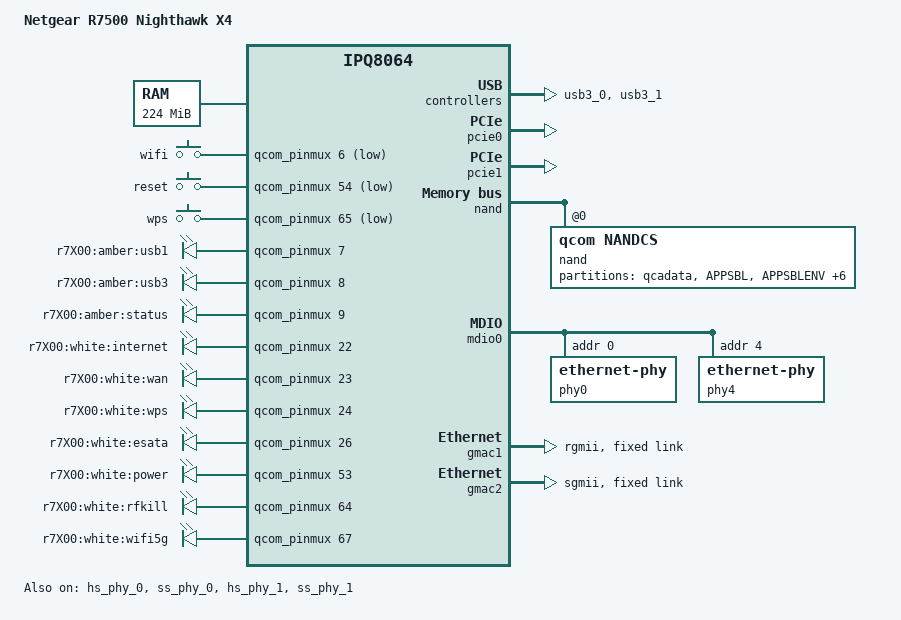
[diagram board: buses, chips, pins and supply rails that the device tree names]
#include "qcom-ipq8064-v1.0.dtsi"

#include <dt-bindings/input/input.h>
#include <dt-bindings/soc/qcom,tcsr.h>

/ {
	model = "Netgear R7500 Nighthawk X4";
	compatible = "netgear,r7500", "qcom,ipq8064";

	memory@0 {
		reg = <0x42000000 0xe000000>;
		device_type = "memory";
	};

	reserved-memory {
		#address-cells = <1>;
		#size-cells = <1>;
		ranges;
		rsvd@41200000 {
			reg = <0x41200000 0x300000>;
			no-map;
		};
	};

	aliases {
		mdio-gpio0 = &mdio0;
	};

	chosen {
		bootargs = "console=ttyMSM0,115200n8 nohz_full=all rootfstype=squashfs noinitrd root=/dev/mtdblock5";
	};

	keys {
		compatible = "gpio-keys";
		pinctrl-0 = <&button_pins>;
		pinctrl-names = "default";

		wifi {
			label = "wifi";
			gpios = <&qcom_pinmux 6 GPIO_ACTIVE_LOW>;
			linux,code = <KEY_RFKILL>;
			debounce-interval = <60>;
			wakeup-source;
		};

		reset {
			label = "reset";
			gpios = <&qcom_pinmux 54 GPIO_ACTIVE_LOW>;
			linux,code = <KEY_RESTART>;
			debounce-interval = <60>;
			wakeup-source;
		};

		wps {
			label = "wps";
			gpios = <&qcom_pinmux 65 GPIO_ACTIVE_LOW>;
			linux,code = <KEY_WPS_BUTTON>;
			debounce-interval = <60>;
			wakeup-source;
		};
	};

	gpio-leds {
		compatible = "gpio-leds";
		pinctrl-0 = <&led_pins>;
		pinctrl-names = "default";

		usb1 {
			label = "r7X00:amber:usb1";
			gpios = <&qcom_pinmux 7 0>;
		};

		usb3 {
			label = "r7X00:amber:usb3";
			gpios = <&qcom_pinmux 8 0>;
		};

		status {
			label = "r7X00:amber:status";
			gpios = <&qcom_pinmux 9 0>;
		};

		internet {
			label = "r7X00:white:internet";
			gpios = <&qcom_pinmux 22 0>;
		};

		wan {
			label = "r7X00:white:wan";
			gpios = <&qcom_pinmux 23 0>;
		};

		wps {
			label = "r7X00:white:wps";
			gpios = <&qcom_pinmux 24 0>;
		};

		esata {
			label = "r7X00:white:esata";
			gpios = <&qcom_pinmux 26 0>;
		};

		power {
			label = "r7X00:white:power";
			gpios = <&qcom_pinmux 53 0>;
			default-state = "on";
		};

		rfkill {
			label = "r7X00:white:rfkill";
			gpios = <&qcom_pinmux 64 0>;
		};

		wifi5g {
			label = "r7X00:white:wifi5g";
			gpios = <&qcom_pinmux 67 0>;
		};
	};
};

&qcom_pinmux {
	button_pins: button_pins {
		mux {
			pins = "gpio6", "gpio54", "gpio65";
			function = "gpio";
			drive-strength = <2>;
			bias-pull-up;
		};
	};

	led_pins: led_pins {
		mux {
			pins = "gpio7", "gpio8", "gpio9", "gpio22", "gpio23",
				"gpio24","gpio26", "gpio53", "gpio64";
			function = "gpio";
			drive-strength = <2>;
			bias-pull-up;
		};
	};
};

&gsbi5 {
	status = "disabled";

	spi@1a280000 {
		status = "disabled";
	};
};

&hs_phy_0 {
	status = "okay";
};

&ss_phy_0 {
	status = "okay";
};

&usb3_0 {
	status = "okay";
};

&hs_phy_1 {
	status = "okay";
};

&ss_phy_1 {
	status = "okay";
};

&usb3_1 {
	status = "okay";
};

&pcie0 {
	status = "okay";
};

&pcie1 {
	status = "okay";
	max-link-speed = <1>;
};

&nand {
	status = "okay";

	nand@0 {
		reg = <0>;
		compatible = "qcom,nandcs";

		nand-ecc-strength = <4>;
		nand-bus-width = <8>;
		nand-ecc-step-size = <512>;

				partitions {
					compatible = "fixed-partitions";
					#address-cells = <1>;
					#size-cells = <1>;

			qcadata@0 {
				label = "qcadata";
				reg = <0x0000000 0x0c80000>;
				read-only;
			};

			APPSBL@c80000 {
				label = "APPSBL";
				reg = <0x0c80000 0x0500000>;
				read-only;
			};

			APPSBLENV@1180000 {
				label = "APPSBLENV";
				reg = <0x1180000 0x0080000>;
				read-only;
			};

			art: art@1200000 {
				label = "art";
				reg = <0x1200000 0x0140000>;
			};

			linux@1340000 {
				label = "linux";
				reg = <0x1340000 0x1800000>;
			};
			
			nvram@2B40000 {
				label = "nvram";
				reg = <0x2B40000 0x0200000>;
			};

			netgear@2d40000 {
				label = "netgear";
				reg = <0x2d40000 0x0c00000>;
				read-only;
			};

			reserve@3940000 {
				label = "reserve";
				reg = <0x3940000 0x46c0000>;
				read-only;
			};

			firmware@1340000 {
				label = "firmware";
				reg = <0x1340000 0x1a00000>;
			};
				};
	};
};

&mdio0 {
	status = "okay";

	pinctrl-0 = <&mdio0_pins>;
	pinctrl-names = "default";

			phy0: ethernet-phy@0 {
				device_type = "ethernet-phy";
				reg = <0>;
				qca,ar8327-initvals = <
					0x00004 0x7600000   /* PAD0_MODE */
					0x00008 0x1000000   /* PAD5_MODE */
					0x0000c 0x80        /* PAD6_MODE */
					0x000e4 0x6a545     /* MAC_POWER_SEL */
					0x000e0 0xc74164de  /* SGMII_CTRL */
					0x0007c 0x4e        /* PORT0_STATUS */
					0x00094 0x4e        /* PORT6_STATUS */
					>;
			};

			phy4: ethernet-phy@4 {
				device_type = "ethernet-phy";
				reg = <4>;
			};

};

&gmac1 {
	status = "okay";
	phy-mode = "rgmii";
	qcom,id = <1>;

	pinctrl-0 = <&rgmii2_pins>;
	pinctrl-names = "default";


			mtd-mac-address = <&art 6>;

	fixed-link {
		speed = <1000>;
		full-duplex;
	};
};

&gmac2 {
	status = "okay";
	phy-mode = "sgmii";
	qcom,id = <2>;


			mtd-mac-address = <&art 0>;

	fixed-link {
		speed = <1000>;
		full-duplex;
	};
};

&tcsr {
	qcom,usb-ctrl-select = <TCSR_USB_SELECT_USB3_DUAL>;
	compatible = "qcom,tcsr";
};

&adm_dma {
	status = "okay";
};

&art {
	compatible = "nvmem-cells";
	#address-cells = <1>;
	#size-cells = <1>;

	macaddr_art_0: macaddr@0 {
		reg = <0x0 0x6>;
	};

	macaddr_art_6: macaddr@6 {
		reg = <0x6 0x6>;
	};
};
